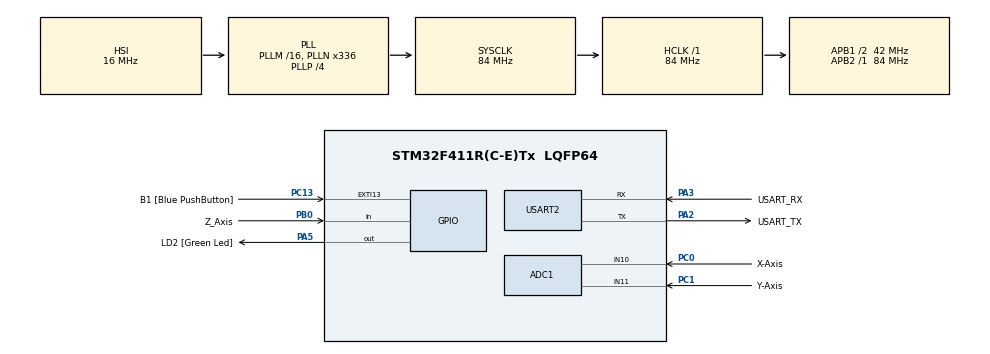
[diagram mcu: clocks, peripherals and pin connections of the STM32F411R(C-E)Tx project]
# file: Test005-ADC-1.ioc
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ADC1.Channel-2\#ChannelRegularConversion=ADC_CHANNEL_10
ADC1.Channel-3\#ChannelRegularConversion=ADC_CHANNEL_11
ADC1.DiscontinuousConvMode=ENABLE
ADC1.NbrOfConversion=2
ADC1.NbrOfConversionFlag=1
ADC1.NbrOfDiscConversion=1
ADC1.Rank-2\#ChannelRegularConversion=1
ADC1.Rank-3\#ChannelRegularConversion=2
ADC1.SamplingTime-2\#ChannelRegularConversion=ADC_SAMPLETIME_15CYCLES
ADC1.SamplingTime-3\#ChannelRegularConversion=ADC_SAMPLETIME_15CYCLES
ADC1.ScanConvMode=ENABLE
ADC1.master=1
Mcu.Family=STM32F4
Mcu.Name=STM32F411R(C-E)Tx
Mcu.Package=LQFP64
NVIC.PriorityGroup=NVIC_PRIORITYGROUP_0
NVIC.TIM3_IRQn=true\:0\:0\:false\:false\:true\:true\:true\:true
PA13.GPIO_Label=TMS
PA13.Mode=Serial_Wire
PA13.Signal=SYS_JTMS-SWDIO
PA14.GPIO_Label=TCK
PA14.Mode=Serial_Wire
PA14.Signal=SYS_JTCK-SWCLK
PA2.GPIO_Label=USART_TX
PA2.Mode=Asynchronous
PA2.Signal=USART2_TX
PA3.GPIO_Label=USART_RX
PA3.Mode=Asynchronous
PA3.Signal=USART2_RX
PA5.GPIO_Label=LD2 [Green Led]
PA5.Signal=GPIO_Output
PB0.GPIO_Label=Z_Axis
PB0.GPIO_PuPd=GPIO_PULLUP
PB0.Signal=GPIO_Input
PB3.GPIO_Label=SWO
PB3.Signal=SYS_JTDO-SWO
PC0.GPIO_Label=X-Axis
PC0.Signal=ADCx_IN10
PC1.GPIO_Label=Y-Axis
PC1.Signal=ADCx_IN11
PC13-ANTI_TAMP.GPIO_Label=B1 [Blue PushButton]
PC13-ANTI_TAMP.GPIO_ModeDefaultEXTI=GPIO_MODE_IT_FALLING
PC13-ANTI_TAMP.Signal=GPXTI13
PC14-OSC32_IN.Mode=LSE-External-Oscillator
PC14-OSC32_IN.Signal=RCC_OSC32_IN
PC15-OSC32_OUT.Mode=LSE-External-Oscillator
PC15-OSC32_OUT.Signal=RCC_OSC32_OUT
PH0\ -\ OSC_IN.Mode=HSE-External-Clock-Source
PH0\ -\ OSC_IN.Signal=RCC_OSC_IN
PH1\ -\ OSC_OUT.Mode=HSE-External-Clock-Source
PH1\ -\ OSC_OUT.Signal=RCC_OSC_OUT
ProjectManager.HeapSize=0x200
ProjectManager.StackSize=0x400
ProjectManager.TargetToolchain=STM32CubeIDE
RCC.48MHZClocksFreq_Value=84000000
RCC.AHBFreq_Value=84000000
RCC.APB1CLKDivider=RCC_HCLK_DIV2
RCC.APB1Freq_Value=42000000
RCC.APB1TimFreq_Value=84000000
RCC.APB2Freq_Value=84000000
RCC.APB2TimFreq_Value=84000000
RCC.CortexFreq_Value=84000000
RCC.FLatency-AdvancedSettings=FLASH_LATENCY_2
RCC.HCLKFreq_Value=84000000
RCC.HSE_VALUE=8000000
RCC.HSI_VALUE=16000000
RCC.PLLN=336
RCC.PLLP=RCC_PLLP_DIV4
RCC.SYSCLKFreq_VALUE=84000000
RCC.SYSCLKSource=RCC_SYSCLKSOURCE_PLLCLK
RCC.VCOOutputFreq_Value=336000000
SH.ADCx_IN10.0=ADC1_IN10,IN10
SH.ADCx_IN11.0=ADC1_IN11,IN11
TIM3.Prescaler=0
USART2.VirtualMode=VM_ASYNC
VP_TIM3_VS_ClockSourceINT.Mode=Internal
board=NUCLEO-F411RE

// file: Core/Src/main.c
/* USER CODE BEGIN Header */
/**
  ******************************************************************************
  * @file           : main.c
  * @brief          : Main program body
  ******************************************************************************
  * @attention
  *
  * Copyright (c) 2024 STMicroelectronics.
  * All rights reserved.
  *
  * This software is licensed under terms that can be found in the LICENSE file
  * in the root directory of this software component.
  * If no LICENSE file comes with this software, it is provided AS-IS.
  *
  ******************************************************************************
  */
/* USER CODE END Header */
#include "main.h"

ADC_HandleTypeDef hadc1;

TIM_HandleTypeDef htim3;

UART_HandleTypeDef huart2;

void SystemClock_Config(void);
static void MX_GPIO_Init(void);
static void MX_USART2_UART_Init(void);
static void MX_ADC1_Init(void);
static void MX_TIM3_Init(void);

/* USER CODE BEGIN 0 */
int xa[100];
int ya[100];
void random()
{
	int i;
	srand(htim3.Instance->CNT);
	  for( i = 0; i <100; i++)
	  {
		  int v1 = rand(); // 0 ~ 2,147,483,647
		  int v2 = rand();
		  xa[i] = (((double)v1/ 2147483647.)) * 80;
		  ya[i] = (((double)v2/ 2147483647.)) * 24;
		  //printf("[%d;%d](%d,%d)\r\n", v1, v2, xa[i], ya[i]);
		  printf("\033[%d;%dH!", ya[i], xa[i]);
	  }
	  printf("\n");
}
/* USER CODE END 0 */

int main(void)
{

  /* MCU Configuration--------------------------------------------------------*/

  /* Reset of all peripherals, Initializes the Flash interface and the Systick. */
  HAL_Init();

  /* Configure the system clock */
  SystemClock_Config();

  /* Initialize all configured peripherals */
  MX_GPIO_Init();
  MX_USART2_UART_Init();
  MX_ADC1_Init();
  MX_TIM3_Init();
  /* USER CODE BEGIN 2 */

  ProgramStart("ADC Polling");
  HAL_TIM_Base_Start(&htim3);
  printf("\033[2J\033[?25l\n");
  /* USER CODE END 2 */

  /* Infinite loop */
  /* USER CODE BEGIN WHILE */
  int sx=80,sy=24;
  int cx=39,cy=12;
  random();
  while (1)
  {
    /* USER CODE END WHILE */

    /* USER CODE BEGIN 3 */
	  HAL_ADC_Start(&hadc1);
	  HAL_ADC_PollForConversion(&hadc1, 1000); // start Trigger
	  int v = ((double)((HAL_ADC_GetValue(&hadc1)) / 2020)) -1;
	  int x = cx + v;
	  x = (x > 80)? 80: (x < 0) ? 0:x;
	  //HAL_ADC_Stop(&hadc1); // skip
	  HAL_ADC_Start(&hadc1);
	  HAL_ADC_PollForConversion(&hadc1, 1000); // start Trigger
	  v = ((double)((HAL_ADC_GetValue(&hadc1)) / 2020)) -1;
	  int y = cy +v;
	  y = (y > 24)? 24: (y < 0) ? 0:y;
	  //HAL_ADC_Start(&hadc1);
	  //HAL_ADC_PollForConversion(&hadc1, 1000); // start Trigger
	  int z = HAL_GPIO_ReadPin(Z_Axis_GPIO_Port, Z_Axis_Pin);
	  printf("\033[0;0HADC Value : (%d,%d,%d)\n", x, y, z); // location info
	  printf("\033[%d;%dH \033[%d;%dH@\033[A\n", cy, cx, y, x);
	  cx = x; cy = y; //save current pos
	  int x2=0, y2=0;
	  for(int i = 0; i <20; i++)
	  {
		  if(x == xa[i])
		  {
			  for (int j = 0; j < 10; j++)
			  {
				  if(y == ya[j]) printf("\033[%d;%dH ",cy, cx);
			  }
		  }
	  }
  }
  /* USER CODE END 3 */
}

void SystemClock_Config(void)
{
  RCC_OscInitTypeDef RCC_OscInitStruct = {0};
  RCC_ClkInitTypeDef RCC_ClkInitStruct = {0};

  /** Configure the main internal regulator output voltage
  */
  __HAL_RCC_PWR_CLK_ENABLE();
  __HAL_PWR_VOLTAGESCALING_CONFIG(PWR_REGULATOR_VOLTAGE_SCALE1);

  /** Initializes the RCC Oscillators according to the specified parameters
  * in the RCC_OscInitTypeDef structure.
  */
  RCC_OscInitStruct.OscillatorType = RCC_OSCILLATORTYPE_HSI;
  RCC_OscInitStruct.HSIState = RCC_HSI_ON;
  RCC_OscInitStruct.HSICalibrationValue = RCC_HSICALIBRATION_DEFAULT;
  RCC_OscInitStruct.PLL.PLLState = RCC_PLL_ON;
  RCC_OscInitStruct.PLL.PLLSource = RCC_PLLSOURCE_HSI;
  RCC_OscInitStruct.PLL.PLLM = 16;
  RCC_OscInitStruct.PLL.PLLN = 336;
  RCC_OscInitStruct.PLL.PLLP = RCC_PLLP_DIV4;
  RCC_OscInitStruct.PLL.PLLQ = 4;
  if (HAL_RCC_OscConfig(&RCC_OscInitStruct) != HAL_OK)
  {
    Error_Handler();
  }

  /** Initializes the CPU, AHB and APB buses clocks
  */
  RCC_ClkInitStruct.ClockType = RCC_CLOCKTYPE_HCLK|RCC_CLOCKTYPE_SYSCLK
                              |RCC_CLOCKTYPE_PCLK1|RCC_CLOCKTYPE_PCLK2;
  RCC_ClkInitStruct.SYSCLKSource = RCC_SYSCLKSOURCE_PLLCLK;
  RCC_ClkInitStruct.AHBCLKDivider = RCC_SYSCLK_DIV1;
  RCC_ClkInitStruct.APB1CLKDivider = RCC_HCLK_DIV2;
  RCC_ClkInitStruct.APB2CLKDivider = RCC_HCLK_DIV1;

  if (HAL_RCC_ClockConfig(&RCC_ClkInitStruct, FLASH_LATENCY_2) != HAL_OK)
  {
    Error_Handler();
  }
}

static void MX_ADC1_Init(void)
{

  ADC_ChannelConfTypeDef sConfig = {0};

  /** Configure the global features of the ADC (Clock, Resolution, Data Alignment and number of conversion)
  */
  hadc1.Instance = ADC1;
  hadc1.Init.ClockPrescaler = ADC_CLOCK_SYNC_PCLK_DIV4;
  hadc1.Init.Resolution = ADC_RESOLUTION_12B;
  hadc1.Init.ScanConvMode = ENABLE;
  hadc1.Init.ContinuousConvMode = DISABLE;
  hadc1.Init.DiscontinuousConvMode = ENABLE;
  hadc1.Init.NbrOfDiscConversion = 1;
  hadc1.Init.ExternalTrigConvEdge = ADC_EXTERNALTRIGCONVEDGE_NONE;
  hadc1.Init.ExternalTrigConv = ADC_SOFTWARE_START;
  hadc1.Init.DataAlign = ADC_DATAALIGN_RIGHT;
  hadc1.Init.NbrOfConversion = 2;
  hadc1.Init.DMAContinuousRequests = DISABLE;
  hadc1.Init.EOCSelection = ADC_EOC_SINGLE_CONV;
  if (HAL_ADC_Init(&hadc1) != HAL_OK)
  {
    Error_Handler();
  }

  /** Configure for the selected ADC regular channel its corresponding rank in the sequencer and its sample time.
  */
  sConfig.Channel = ADC_CHANNEL_10;
  sConfig.Rank = 1;
  sConfig.SamplingTime = ADC_SAMPLETIME_15CYCLES;
  if (HAL_ADC_ConfigChannel(&hadc1, &sConfig) != HAL_OK)
  {
    Error_Handler();
  }

  /** Configure for the selected ADC regular channel its corresponding rank in the sequencer and its sample time.
  */
  sConfig.Channel = ADC_CHANNEL_11;
  sConfig.Rank = 2;
  if (HAL_ADC_ConfigChannel(&hadc1, &sConfig) != HAL_OK)
  {
    Error_Handler();
  }

}

static void MX_TIM3_Init(void)
{

  TIM_ClockConfigTypeDef sClockSourceConfig = {0};
  TIM_MasterConfigTypeDef sMasterConfig = {0};

  htim3.Instance = TIM3;
  htim3.Init.Prescaler = 0;
  htim3.Init.CounterMode = TIM_COUNTERMODE_UP;
  htim3.Init.Period = 65535;
  htim3.Init.ClockDivision = TIM_CLOCKDIVISION_DIV1;
  htim3.Init.AutoReloadPreload = TIM_AUTORELOAD_PRELOAD_DISABLE;
  if (HAL_TIM_Base_Init(&htim3) != HAL_OK)
  {
    Error_Handler();
  }
  sClockSourceConfig.ClockSource = TIM_CLOCKSOURCE_INTERNAL;
  if (HAL_TIM_ConfigClockSource(&htim3, &sClockSourceConfig) != HAL_OK)
  {
    Error_Handler();
  }
  sMasterConfig.MasterOutputTrigger = TIM_TRGO_RESET;
  sMasterConfig.MasterSlaveMode = TIM_MASTERSLAVEMODE_DISABLE;
  if (HAL_TIMEx_MasterConfigSynchronization(&htim3, &sMasterConfig) != HAL_OK)
  {
    Error_Handler();
  }

}

static void MX_USART2_UART_Init(void)
{

  huart2.Instance = USART2;
  huart2.Init.BaudRate = 115200;
  huart2.Init.WordLength = UART_WORDLENGTH_8B;
  huart2.Init.StopBits = UART_STOPBITS_1;
  huart2.Init.Parity = UART_PARITY_NONE;
  huart2.Init.Mode = UART_MODE_TX_RX;
  huart2.Init.HwFlowCtl = UART_HWCONTROL_NONE;
  huart2.Init.OverSampling = UART_OVERSAMPLING_16;
  if (HAL_UART_Init(&huart2) != HAL_OK)
  {
    Error_Handler();
  }

}

static void MX_GPIO_Init(void)
{
  GPIO_InitTypeDef GPIO_InitStruct = {0};

  /* GPIO Ports Clock Enable */
  __HAL_RCC_GPIOC_CLK_ENABLE();
  __HAL_RCC_GPIOH_CLK_ENABLE();
  __HAL_RCC_GPIOA_CLK_ENABLE();
  __HAL_RCC_GPIOB_CLK_ENABLE();

  /*Configure GPIO pin Output Level */
  HAL_GPIO_WritePin(LD2_GPIO_Port, LD2_Pin, GPIO_PIN_RESET);

  /*Configure GPIO pin : B1_Pin */
  GPIO_InitStruct.Pin = B1_Pin;
  GPIO_InitStruct.Mode = GPIO_MODE_IT_FALLING;
  GPIO_InitStruct.Pull = GPIO_NOPULL;
  HAL_GPIO_Init(B1_GPIO_Port, &GPIO_InitStruct);

  /*Configure GPIO pin : LD2_Pin */
  GPIO_InitStruct.Pin = LD2_Pin;
  GPIO_InitStruct.Mode = GPIO_MODE_OUTPUT_PP;
  GPIO_InitStruct.Pull = GPIO_NOPULL;
  GPIO_InitStruct.Speed = GPIO_SPEED_FREQ_LOW;
  HAL_GPIO_Init(LD2_GPIO_Port, &GPIO_InitStruct);

  /*Configure GPIO pin : Z_Axis_Pin */
  GPIO_InitStruct.Pin = Z_Axis_Pin;
  GPIO_InitStruct.Mode = GPIO_MODE_INPUT;
  GPIO_InitStruct.Pull = GPIO_PULLUP;
  HAL_GPIO_Init(Z_Axis_GPIO_Port, &GPIO_InitStruct);

}

void Error_Handler(void)
{
  __disable_irq();
  while (1)
  {
  }
}
